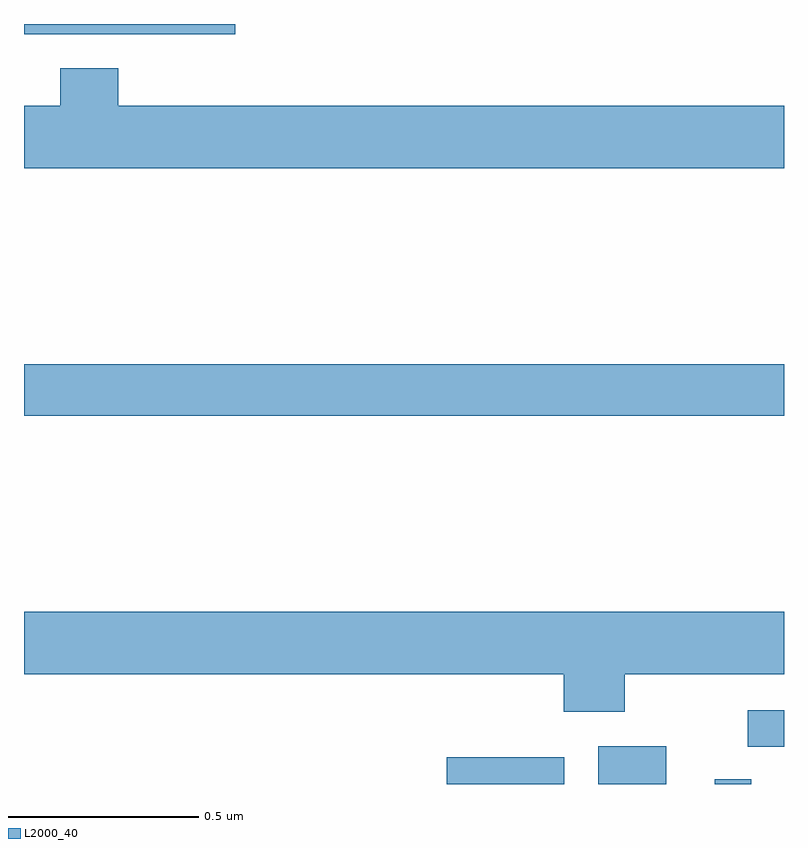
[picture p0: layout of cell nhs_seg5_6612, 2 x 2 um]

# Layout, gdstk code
import gdstk
lib = gdstk.Library(unit=1e-6, precision=1e-09)
def R(c, l, rs):  # rectangles x0, y0, x1, y1
    for r in rs: c.add(gdstk.rectangle(r[:2], r[2:], *l))
def P(c, l, *ps):  # polygons
    for p in ps: c.add(gdstk.Polygon(p, *l))
L2000_40 = (2000, 40)

nhs_seg5_6612 = lib.new_cell('nhs_seg5_6612')
R(nhs_seg5_6612, L2000_40, [(199.113,861.799,199.422,861.87), (199.511,861.799,199.69,861.898), (199.818,861.799,199.914,861.812), (199.905,861.897,200,861.993), (198,862.768,200,862.904), (198,863.772,198.556,863.799)])
P(nhs_seg5_6612, L2000_40, [(200,863.584),(198.248,863.584),(198.248,863.683),(198.095,863.683),(198.095,863.584),(198,863.584),(198,863.42),(200,863.42)],
  [(199.581,862.088),(200,862.088),(200,862.252),(198,862.252),(198,862.088),(199.421,862.088),(199.421,861.989),(199.581,861.989)])

lib.write_gds('nhs_seg5_6612.gds')
